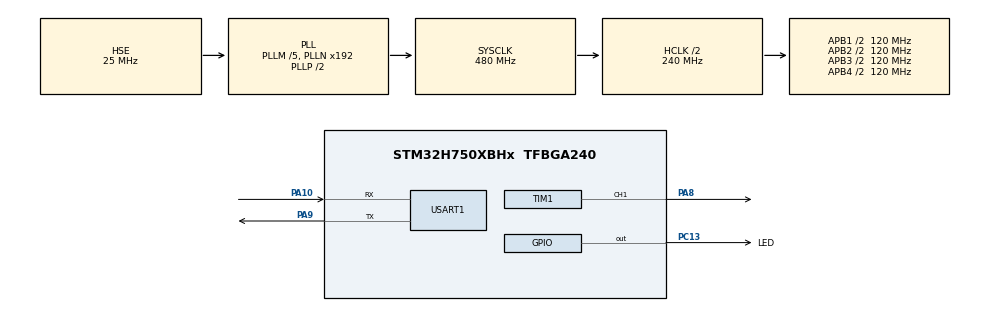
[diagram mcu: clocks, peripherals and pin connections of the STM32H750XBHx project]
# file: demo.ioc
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CORTEX_M7.default_mode_Activation=1
Mcu.Family=STM32H7
Mcu.Name=STM32H750XBHx
Mcu.Package=TFBGA240
NVIC.PriorityGroup=NVIC_PRIORITYGROUP_4
PA10.Mode=Asynchronous
PA10.Signal=USART1_RX
PA13\ (JTMS/SWDIO).Mode=Serial_Wire
PA13\ (JTMS/SWDIO).Signal=DEBUG_JTMS-SWDIO
PA14\ (JTCK/SWCLK).Mode=Serial_Wire
PA14\ (JTCK/SWCLK).Signal=DEBUG_JTCK-SWCLK
PA8.Signal=S_TIM1_CH1
PA9.Mode=Asynchronous
PA9.Signal=USART1_TX
PC13.GPIO_Label=LED
PC13.GPIO_PuPd=GPIO_PULLUP
PC13.PinState=GPIO_PIN_SET
PC13.Signal=GPIO_Output
PH0-OSC_IN\ (PH0).Mode=HSE-External-Oscillator
PH0-OSC_IN\ (PH0).Signal=RCC_OSC_IN
PH1-OSC_OUT\ (PH1).Mode=HSE-External-Oscillator
PH1-OSC_OUT\ (PH1).Signal=RCC_OSC_OUT
ProjectManager.HeapSize=0x200
ProjectManager.StackSize=0x400
ProjectManager.TargetToolchain=MDK-ARM V5.32
RCC.ADCFreq_Value=50390625
RCC.APB1Freq_Value=120000000
RCC.APB2Freq_Value=120000000
RCC.APB3Freq_Value=120000000
RCC.APB4Freq_Value=120000000
RCC.CortexFreq_Value=480000000
RCC.D1PPRE=RCC_APB3_DIV2
RCC.D2PPRE1=RCC_APB1_DIV2
RCC.D2PPRE2=RCC_APB2_DIV2
RCC.D3PPRE=RCC_APB4_DIV2
RCC.DIVM1=5
RCC.DIVN1=192
RCC.HCLKFreq_Value=240000000
RCC.HPRE=RCC_HCLK_DIV2
RCC.PLL2FRACN=0
RCC.PLL3FRACN=0
RCC.PLLFRACN=0
RCC.PLLSourceVirtual=RCC_PLLSOURCE_HSE
RCC.PWR_Regulator_Voltage_Scale=PWR_REGULATOR_VOLTAGE_SCALE0
RCC.SYSCLKFreq_VALUE=480000000
RCC.SYSCLKSource=RCC_SYSCLKSOURCE_PLLCLK
RCC.USBFreq_Value=480000000
SH.S_TIM1_CH1.0=TIM1_CH1,PWM Generation1 CH1
TIM1.Channel-PWM\ Generation1\ CH1=TIM_CHANNEL_1
TIM1.OCIdleState_1=TIM_OCIDLESTATE_SET
TIM1.OCPolarity_1=TIM_OCPOLARITY_LOW
USART1.VirtualMode-Asynchronous=VM_ASYNC
board=custom

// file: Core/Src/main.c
/* USER CODE BEGIN Header */
/**
 ******************************************************************************
 * @file           : main.c
 * @brief          : Main program body
 ******************************************************************************
 * @attention
 *
 * Copyright (c) 2023 STMicroelectronics.
 * All rights reserved.
 *
 * This software is licensed under terms that can be found in the LICENSE file
 * in the root directory of this software component.
 * If no LICENSE file comes with this software, it is provided AS-IS.
 *
 ******************************************************************************
 */
/* USER CODE END Header */
#include "main.h"
#include "tim.h"
#include "usart.h"
#include "gpio.h"

/* USER CODE BEGIN Includes */
#include "bsp.h"
/* USER CODE END Includes */

void        SystemClock_Config(void);
static void MPU_Config(void);

/* USER CODE BEGIN 0 */
#define LOG_TSG(t) c1 = TSG_GetTick(), c2 = DWT_GetTick(), DWT_DelayUS(t), printf("after %10d: tsg = %30llu, dwt = %20d\n", t, TSG_TickToUs(c1, TSG_GetTick()), DWT_TickToUs(c2, DWT_GetTick()))

typedef struct {
    // gpio
    GPIO_TypeDef* GPIO;
    uint16_t      Pin;
    // tim
    TIM_TypeDef*  TIM;
    uint8_t       Channel;
} pwm_port_t;

/**
 * @brief pwm configuration generate
 *
 * @param [in]  clk tim clock input
 * @param [in]  frq target frequency
 * @param [in]  duty duty cycle, 0(0%) ~ 10000 (100%)
 * @param [out] psc prescale
 * @param [out] prd period
 * @param [out] pls pulse
 *
 * @return none
 */
void PWM_ParaGen(uint32_t clk, uint32_t frq, uint16_t duty, uint32_t* psc, uint32_t* prd, uint32_t* pls)
{
    if (frq < 100)
    {
        *psc = 1e4;
    }
    else if (frq < 3000)
    {
        *psc = 1e2;
    }
    else
    {
        *psc = 1;
    }

    *prd = clk / (*psc) / frq;
    *pls = (*prd) * duty / 10000;

    *psc -= 1;  // prescale
    *prd -= 1;  // period
    *pls -= 1;  // pulse
}

/**
 * @note TIM mode: TIM_OCMODE_PWM1 or TIM_OCMODE_PWM2
 */
void PWM_Out(TIM_HandleTypeDef* htim, uint32_t channel, uint32_t frq, uint16_t duty)
{
    uint32_t clk;

    TIM_TypeDef* TIMx = htim->Instance;
    uint32_t*    TIM_CCR;

#if 0
    // 不同总线上的时钟频率不同
    if (TIMx == TIM1)
#endif
    {
        clk = SystemCoreClock / 2;
    }

    switch (channel)
    {
        case TIM_CHANNEL_1:
            TIM_CCR = &TIMx->CCR1;
            break;
        case TIM_CHANNEL_2:
            TIM_CCR = &TIMx->CCR2;
            break;
        case TIM_CHANNEL_3:
            TIM_CCR = &TIMx->CCR3;
            break;
        case TIM_CHANNEL_4:
            TIM_CCR = &TIMx->CCR4;
            break;
        case TIM_CHANNEL_5:
            TIM_CCR = &TIMx->CCR5;
            break;
        case TIM_CHANNEL_6:
            TIM_CCR = &TIMx->CCR6;
            break;
        default:
            return;
    }

    HAL_TIM_PWM_Stop(htim, channel);
    PWM_ParaGen(clk, frq, duty, &TIMx->PSC, &TIMx->ARR, TIM_CCR);
    HAL_TIM_PWM_Start(htim, channel);
}

/* USER CODE END 0 */

int main(void)
{

    /* MPU Configuration--------------------------------------------------------*/
    MPU_Config();

    /* MCU Configuration--------------------------------------------------------*/

    /* Reset of all peripherals, Initializes the Flash interface and the Systick. */
    HAL_Init();

    /* Configure the system clock */
    SystemClock_Config();

    /* Initialize all configured peripherals */
    MX_GPIO_Init();
    MX_USART1_UART_Init();
    MX_TIM1_Init();
    /* USER CODE BEGIN 2 */
    TSG_Init();
    DWT_Init();
    /* USER CODE END 2 */

    /* Infinite loop */
    /* USER CODE BEGIN WHILE */
    PWM_Out(&htim1, TIM_CHANNEL_1, 2e4, 6000);
    while (1)
    {
        // LOG_TSG(2);
        // LOG_TSG(20);
        // LOG_TSG(500000);
        // LOG_TSG(3000000);

        /* USER CODE END WHILE */

    }
}

void SystemClock_Config(void)
{
    RCC_OscInitTypeDef RCC_OscInitStruct = {0};
    RCC_ClkInitTypeDef RCC_ClkInitStruct = {0};

    /** Supply configuration update enable
     */
    HAL_PWREx_ConfigSupply(PWR_LDO_SUPPLY);

    /** Configure the main internal regulator output voltage
     */
    __HAL_PWR_VOLTAGESCALING_CONFIG(PWR_REGULATOR_VOLTAGE_SCALE0);

    while (!__HAL_PWR_GET_FLAG(PWR_FLAG_VOSRDY)) {}

    /** Initializes the RCC Oscillators according to the specified parameters
     * in the RCC_OscInitTypeDef structure.
     */
    RCC_OscInitStruct.OscillatorType = RCC_OSCILLATORTYPE_HSE;
    RCC_OscInitStruct.HSEState       = RCC_HSE_ON;
    RCC_OscInitStruct.PLL.PLLState   = RCC_PLL_ON;
    RCC_OscInitStruct.PLL.PLLSource  = RCC_PLLSOURCE_HSE;
    RCC_OscInitStruct.PLL.PLLM       = 5;
    RCC_OscInitStruct.PLL.PLLN       = 192;
    RCC_OscInitStruct.PLL.PLLP       = 2;
    RCC_OscInitStruct.PLL.PLLQ       = 2;
    RCC_OscInitStruct.PLL.PLLR       = 2;
    RCC_OscInitStruct.PLL.PLLRGE     = RCC_PLL1VCIRANGE_2;
    RCC_OscInitStruct.PLL.PLLVCOSEL  = RCC_PLL1VCOWIDE;
    RCC_OscInitStruct.PLL.PLLFRACN   = 0;
    if (HAL_RCC_OscConfig(&RCC_OscInitStruct) != HAL_OK)
    {
        Error_Handler();
    }

    /** Initializes the CPU, AHB and APB buses clocks
     */
    RCC_ClkInitStruct.ClockType      = RCC_CLOCKTYPE_HCLK | RCC_CLOCKTYPE_SYSCLK | RCC_CLOCKTYPE_PCLK1 | RCC_CLOCKTYPE_PCLK2 | RCC_CLOCKTYPE_D3PCLK1 | RCC_CLOCKTYPE_D1PCLK1;
    RCC_ClkInitStruct.SYSCLKSource   = RCC_SYSCLKSOURCE_PLLCLK;
    RCC_ClkInitStruct.SYSCLKDivider  = RCC_SYSCLK_DIV1;
    RCC_ClkInitStruct.AHBCLKDivider  = RCC_HCLK_DIV2;
    RCC_ClkInitStruct.APB3CLKDivider = RCC_APB3_DIV2;
    RCC_ClkInitStruct.APB1CLKDivider = RCC_APB1_DIV2;
    RCC_ClkInitStruct.APB2CLKDivider = RCC_APB2_DIV2;
    RCC_ClkInitStruct.APB4CLKDivider = RCC_APB4_DIV2;

    if (HAL_RCC_ClockConfig(&RCC_ClkInitStruct, FLASH_LATENCY_4) != HAL_OK)
    {
        Error_Handler();
    }
}

/* MPU Configuration */

void MPU_Config(void)
{
    MPU_Region_InitTypeDef MPU_InitStruct = {0};

    /* Disables the MPU */
    HAL_MPU_Disable();

    /** Initializes and configures the Region and the memory to be protected
     */
    MPU_InitStruct.Enable           = MPU_REGION_ENABLE;
    MPU_InitStruct.Number           = MPU_REGION_NUMBER0;
    MPU_InitStruct.BaseAddress      = 0x0;
    MPU_InitStruct.Size             = MPU_REGION_SIZE_4GB;
    MPU_InitStruct.SubRegionDisable = 0x87;
    MPU_InitStruct.TypeExtField     = MPU_TEX_LEVEL0;
    MPU_InitStruct.AccessPermission = MPU_REGION_NO_ACCESS;
    MPU_InitStruct.DisableExec      = MPU_INSTRUCTION_ACCESS_DISABLE;
    MPU_InitStruct.IsShareable      = MPU_ACCESS_SHAREABLE;
    MPU_InitStruct.IsCacheable      = MPU_ACCESS_NOT_CACHEABLE;
    MPU_InitStruct.IsBufferable     = MPU_ACCESS_NOT_BUFFERABLE;

    HAL_MPU_ConfigRegion(&MPU_InitStruct);
    /* Enables the MPU */
    HAL_MPU_Enable(MPU_PRIVILEGED_DEFAULT);
}

void Error_Handler(void)
{
    __disable_irq();
    while (1)
    {
    }
}
